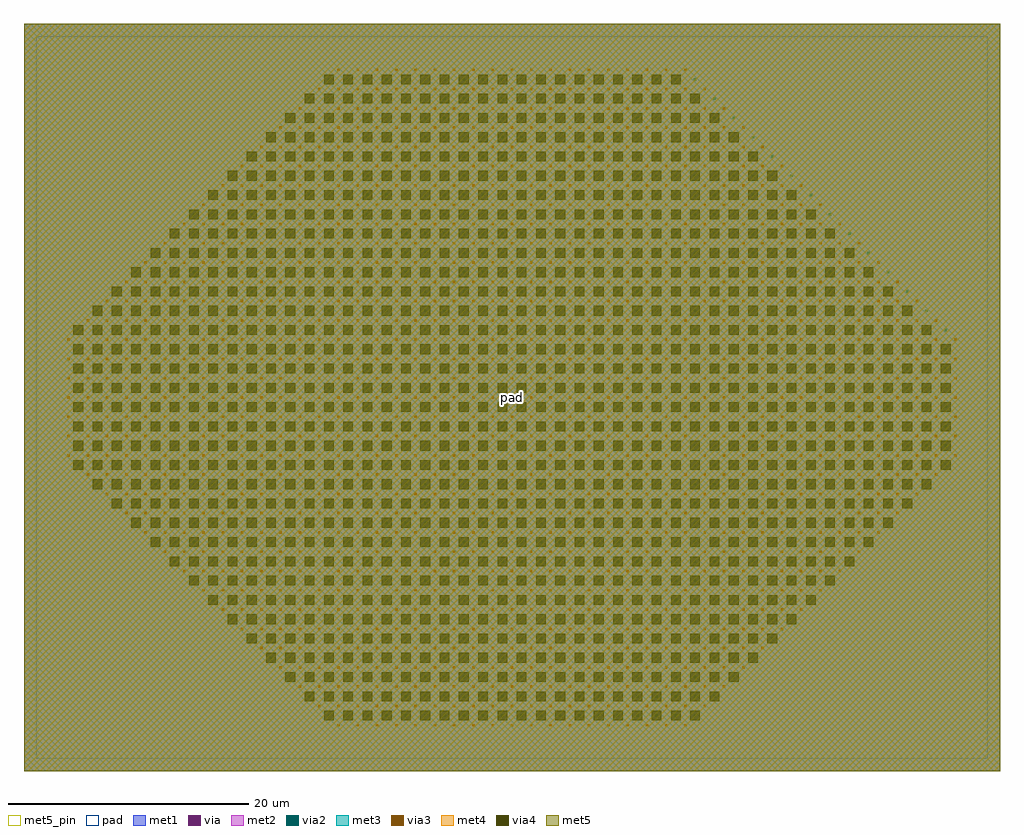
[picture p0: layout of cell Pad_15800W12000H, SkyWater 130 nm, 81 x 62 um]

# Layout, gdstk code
import gdstk
lib = gdstk.Library(unit=1e-6, precision=1e-09)
def R(c, l, rs):  # rectangles x0, y0, x1, y1
    for r in rs: c.add(gdstk.rectangle(r[:2], r[2:], *l))
def A(c, l, x, y, w, h, nx, ny, dx, dy):  # array of equal rectangles
    R(c, l, [(x+i*dx, y+j*dy, x+i*dx+w, y+j*dy+h) for i in range(nx) for j in range(ny)])
met1 = (68, 20)
via = (68, 44)
met2 = (69, 20)
via2 = (69, 44)
met3 = (70, 20)
via3 = (70, 44)
met4 = (71, 20)
via4 = (71, 44)
met5_pin = (72, 16)
met5 = (72, 20)
pad = (76, 20)

pad_15800w12000h = lib.new_cell('Pad_15800W12000H')
R(pad_15800w12000h, met1, [(-40.5,-31,40.5,31)])
A(pad_15800w12000h, via, -14.475, -27.275, 0.15, 0.15, 19, 2, 1.6, 54.4)
A(pad_15800w12000h, via, -16.075, -25.675, 0.15, 0.15, 21, 2, 1.6, 51.2)
A(pad_15800w12000h, via, -17.675, -24.075, 0.15, 0.15, 23, 2, 1.6, 48)
A(pad_15800w12000h, via, -19.275, -22.475, 0.15, 0.15, 25, 2, 1.6, 44.8)
A(pad_15800w12000h, via, -20.875, -20.875, 0.15, 0.15, 27, 2, 1.6, 41.6)
A(pad_15800w12000h, via, -22.475, -19.275, 0.15, 0.15, 29, 2, 1.6, 38.4)
A(pad_15800w12000h, via, -24.075, -17.675, 0.15, 0.15, 31, 2, 1.6, 35.2)
A(pad_15800w12000h, via, -25.675, -16.075, 0.15, 0.15, 33, 2, 1.6, 32)
A(pad_15800w12000h, via, -27.275, -14.475, 0.15, 0.15, 35, 2, 1.6, 28.8)
A(pad_15800w12000h, via, -28.875, -12.875, 0.15, 0.15, 37, 2, 1.6, 25.6)
A(pad_15800w12000h, via, -30.475, -11.275, 0.15, 0.15, 39, 2, 1.6, 22.4)
A(pad_15800w12000h, via, -32.075, -9.675, 0.15, 0.15, 41, 2, 1.6, 19.2)
A(pad_15800w12000h, via, -33.675, -8.075, 0.15, 0.15, 43, 2, 1.6, 16)
A(pad_15800w12000h, via, -35.275, -6.475, 0.15, 0.15, 45, 2, 1.6, 12.8)
A(pad_15800w12000h, via, -36.875, -4.875, 0.15, 0.15, 47, 7, 1.6, 1.6)
R(pad_15800w12000h, met2, [(-40.5,-31,40.5,31)])
A(pad_15800w12000h, via2, -15.3, -26.5, 0.2, 0.2, 20, 2, 1.6, 52.8)
A(pad_15800w12000h, via2, -16.9, -24.9, 0.2, 0.2, 22, 2, 1.6, 49.6)
A(pad_15800w12000h, via2, -18.5, -23.3, 0.2, 0.2, 24, 2, 1.6, 46.4)
A(pad_15800w12000h, via2, -20.1, -21.7, 0.2, 0.2, 26, 2, 1.6, 43.2)
A(pad_15800w12000h, via2, -21.7, -20.1, 0.2, 0.2, 28, 2, 1.6, 40)
A(pad_15800w12000h, via2, -23.3, -18.5, 0.2, 0.2, 30, 2, 1.6, 36.8)
A(pad_15800w12000h, via2, -24.9, -16.9, 0.2, 0.2, 32, 2, 1.6, 33.6)
A(pad_15800w12000h, via2, -26.5, -15.3, 0.2, 0.2, 34, 2, 1.6, 30.4)
A(pad_15800w12000h, via2, -28.1, -13.7, 0.2, 0.2, 36, 2, 1.6, 27.2)
A(pad_15800w12000h, via2, -29.7, -12.1, 0.2, 0.2, 38, 2, 1.6, 24)
A(pad_15800w12000h, via2, -31.3, -10.5, 0.2, 0.2, 40, 2, 1.6, 20.8)
A(pad_15800w12000h, via2, -32.9, -8.9, 0.2, 0.2, 42, 2, 1.6, 17.6)
A(pad_15800w12000h, via2, -34.5, -7.3, 0.2, 0.2, 44, 2, 1.6, 14.4)
A(pad_15800w12000h, via2, -36.1, -5.7, 0.2, 0.2, 46, 8, 1.6, 1.6)
R(pad_15800w12000h, met3, [(-40.5,-31,40.5,31)])
A(pad_15800w12000h, via3, -14.5, -27.3, 0.2, 0.2, 19, 2, 1.6, 54.4)
A(pad_15800w12000h, via3, -16.1, -25.7, 0.2, 0.2, 21, 2, 1.6, 51.2)
A(pad_15800w12000h, via3, -17.7, -24.1, 0.2, 0.2, 23, 2, 1.6, 48)
A(pad_15800w12000h, via3, -19.3, -22.5, 0.2, 0.2, 25, 2, 1.6, 44.8)
A(pad_15800w12000h, via3, -20.9, -20.9, 0.2, 0.2, 27, 2, 1.6, 41.6)
A(pad_15800w12000h, via3, -22.5, -19.3, 0.2, 0.2, 29, 2, 1.6, 38.4)
A(pad_15800w12000h, via3, -24.1, -17.7, 0.2, 0.2, 31, 2, 1.6, 35.2)
A(pad_15800w12000h, via3, -25.7, -16.1, 0.2, 0.2, 33, 2, 1.6, 32)
A(pad_15800w12000h, via3, -27.3, -14.5, 0.2, 0.2, 35, 2, 1.6, 28.8)
A(pad_15800w12000h, via3, -28.9, -12.9, 0.2, 0.2, 37, 2, 1.6, 25.6)
A(pad_15800w12000h, via3, -30.5, -11.3, 0.2, 0.2, 39, 2, 1.6, 22.4)
A(pad_15800w12000h, via3, -32.1, -9.7, 0.2, 0.2, 41, 2, 1.6, 19.2)
A(pad_15800w12000h, via3, -33.7, -8.1, 0.2, 0.2, 43, 2, 1.6, 16)
A(pad_15800w12000h, via3, -35.3, -6.5, 0.2, 0.2, 45, 2, 1.6, 12.8)
A(pad_15800w12000h, via3, -36.9, -4.9, 0.2, 0.2, 47, 7, 1.6, 1.6)
R(pad_15800w12000h, met4, [(-40.5,-31,40.5,31)])
A(pad_15800w12000h, via4, -15.6, -26.8, 0.8, 0.8, 20, 1, 1.6, 0)
A(pad_15800w12000h, via4, -17.2, -25.2, 0.8, 0.8, 22, 1, 1.6, 0)
A(pad_15800w12000h, via4, -18.8, -23.6, 0.8, 0.8, 24, 1, 1.6, 0)
A(pad_15800w12000h, via4, -20.4, -22, 0.8, 0.8, 26, 1, 1.6, 0)
A(pad_15800w12000h, via4, -22, -20.4, 0.8, 0.8, 28, 1, 1.6, 0)
A(pad_15800w12000h, via4, -23.6, -18.8, 0.8, 0.8, 30, 1, 1.6, 0)
A(pad_15800w12000h, via4, -25.2, -17.2, 0.8, 0.8, 32, 1, 1.6, 0)
A(pad_15800w12000h, via4, -26.8, -15.6, 0.8, 0.8, 34, 1, 1.6, 0)
A(pad_15800w12000h, via4, -28.4, -14, 0.8, 0.8, 36, 1, 1.6, 0)
A(pad_15800w12000h, via4, -30, -12.4, 0.8, 0.8, 38, 1, 1.6, 0)
A(pad_15800w12000h, via4, -31.6, -10.8, 0.8, 0.8, 40, 1, 1.6, 0)
A(pad_15800w12000h, via4, -33.2, -9.2, 0.8, 0.8, 42, 1, 1.6, 0)
A(pad_15800w12000h, via4, -34.8, -7.6, 0.8, 0.8, 44, 1, 1.6, 0)
A(pad_15800w12000h, via4, -36.4, -6, 0.8, 0.8, 46, 7, 1.6, 1.6)
A(pad_15800w12000h, via4, -36.4, 5.2, 0.8, 0.8, 45, 1, 1.6, 0)
A(pad_15800w12000h, via4, -34.8, 6.8, 0.8, 0.8, 43, 1, 1.6, 0)
A(pad_15800w12000h, via4, -33.2, 8.4, 0.8, 0.8, 41, 1, 1.6, 0)
A(pad_15800w12000h, via4, -31.6, 10, 0.8, 0.8, 39, 1, 1.6, 0)
A(pad_15800w12000h, via4, -30, 11.6, 0.8, 0.8, 37, 1, 1.6, 0)
A(pad_15800w12000h, via4, -28.4, 13.2, 0.8, 0.8, 35, 1, 1.6, 0)
A(pad_15800w12000h, via4, -26.8, 14.8, 0.8, 0.8, 33, 1, 1.6, 0)
A(pad_15800w12000h, via4, -25.2, 16.4, 0.8, 0.8, 31, 1, 1.6, 0)
A(pad_15800w12000h, via4, -23.6, 18, 0.8, 0.8, 29, 1, 1.6, 0)
A(pad_15800w12000h, via4, -22, 19.6, 0.8, 0.8, 27, 1, 1.6, 0)
A(pad_15800w12000h, via4, -20.4, 21.2, 0.8, 0.8, 25, 1, 1.6, 0)
A(pad_15800w12000h, via4, -18.8, 22.8, 0.8, 0.8, 23, 1, 1.6, 0)
A(pad_15800w12000h, via4, -17.2, 24.4, 0.8, 0.8, 21, 1, 1.6, 0)
A(pad_15800w12000h, via4, -15.6, 26, 0.8, 0.8, 19, 1, 1.6, 0)
R(pad_15800w12000h, met5_pin, [(-40.5,-31,40.5,31)])
R(pad_15800w12000h, met5, [(-40.5,-31,40.5,31), (-40.5,-31,40.5,31)])
R(pad_15800w12000h, pad, [(-39.5,-30,39.5,30)])
pad_15800w12000h.add(gdstk.Label('pad', (0,0), layer=72, texttype=16))

lib.write_gds('Pad_15800W12000H.gds')
